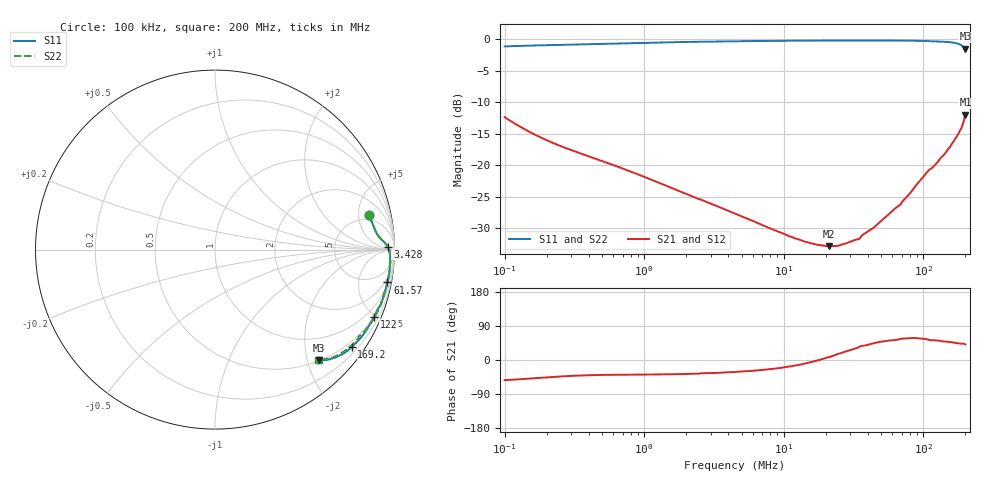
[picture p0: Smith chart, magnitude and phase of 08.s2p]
#  HZ  S  RI  R  50.00
! Rohde & Schwarz Vector Network Analyzer
! Rohde-Schwarz,ZNLE6-2Port,1323001256200024,1.71.1.10-23.02.1.238
! Created: UTC 4/7/2025, 9:19:17 AM
! freq[Hz]  re:S11  im:S11  re:S21  im:S21  re:S12  im:S12  re:S22  im:S22
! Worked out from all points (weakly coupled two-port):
!   1001 points, 100 kHz to 200 MHz, reference 50 ohm
!   highest |S21| = -11.94 dB at 200 MHz (marker M1); lowest = -32.8 dB at 21.08 MHz (marker M2)
!   lowest |S11| = -1.5 dB at 200 MHz (marker M3), VSWR 11.85, Z = 25.9 - j111 ohm
!   |S11| at or under -10 dB: nowhere
!   |S22| runs from -1.5 to -0.2 dB; largest |S21 - S12| = 0.0092
!   S11 on the Smith chart (normalised r, x): 100 kHz: 4.01, +6.69; 3.428 MHz: 42, +19; 61.57 MHz: 1, -10; 122 MHz: 0.49, -4.89; 169.2 MHz: 0.35, -3.09; 200 MHz: 0.52, -2.22
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100000  0.8567 0.1916  0.1447 -0.1927  0.1451 -0.1931  0.8563 0.1918
183688.7  0.8878 0.1196  0.1132 -0.1206  0.1135 -0.1209  0.8876 0.1198
355854.1  0.9071 0.0795  0.0936 -0.0807  0.0938 -0.0808  0.9071 0.0796
1266322  0.9428 0.0417  0.0575 -0.0451  0.0576 -0.0452  0.9427 0.0415
3427512  0.9612 0.0171  0.039 -0.026  0.0386 -0.0263  0.9621 0.0174
4472136  0.965 0.0104  0.0354 -0.0217  0.0349 -0.0221  0.9661 0.0115
1.088267e7  0.9737 -0.0183  0.0263 -0.00825  0.0261 -0.00896  0.9742 -0.0191
1.591428e7  0.9756 -0.0364  0.0239 -0.00213  0.0238 -0.00242  0.9761 -0.0382
2.108265e7  0.9762 -0.0542  0.0227 0.00316  0.0227 0.00248  0.9765 -0.0561
2.435817e7  0.9758 -0.0649  0.0222 0.00621  0.0222 0.00596  0.9763 -0.0674
3.40322e7  0.9737 -0.0966  0.0219 0.014  0.0218 0.0142  0.9738 -0.0997
4.508459e7  0.9699 -0.1313  0.0232 0.0232  0.0234 0.0226  0.9697 -0.1357
5.663162e7  0.9641 -0.1677  0.0256 0.032  0.0265 0.031  0.963 -0.173
6.157017e7  0.9611 -0.183  0.0272 0.0355  0.0275 0.0351  0.9587 -0.1904
6.796475e7  0.9557 -0.2043  0.0277 0.04  0.0299 0.0387  0.9532 -0.211
8.734091e7  0.9376 -0.2637  0.036 0.0577  0.0377 0.0568  0.9329 -0.2751
1.088799e8  0.9062 -0.3337  0.0538 0.0735  0.0549 0.0735  0.9032 -0.3503
1.22029e8  0.8863 -0.3742  0.0633 0.0799  0.0661 0.079  0.8806 -0.3914
1.464495e8  0.8363 -0.4601  0.0857 0.0968  0.0869 0.0937  0.8228 -0.4671
1.692027e8  0.7616 -0.5435  0.1145 0.1158  0.1181 0.1109  0.7474 -0.5451
1.853616e8  0.6773 -0.5987  0.1417 0.1327  0.148 0.1268  0.658 -0.6006
2e8  0.5792 -0.6144  0.1907 0.1662  0.1967 0.1646  0.5752 -0.616
